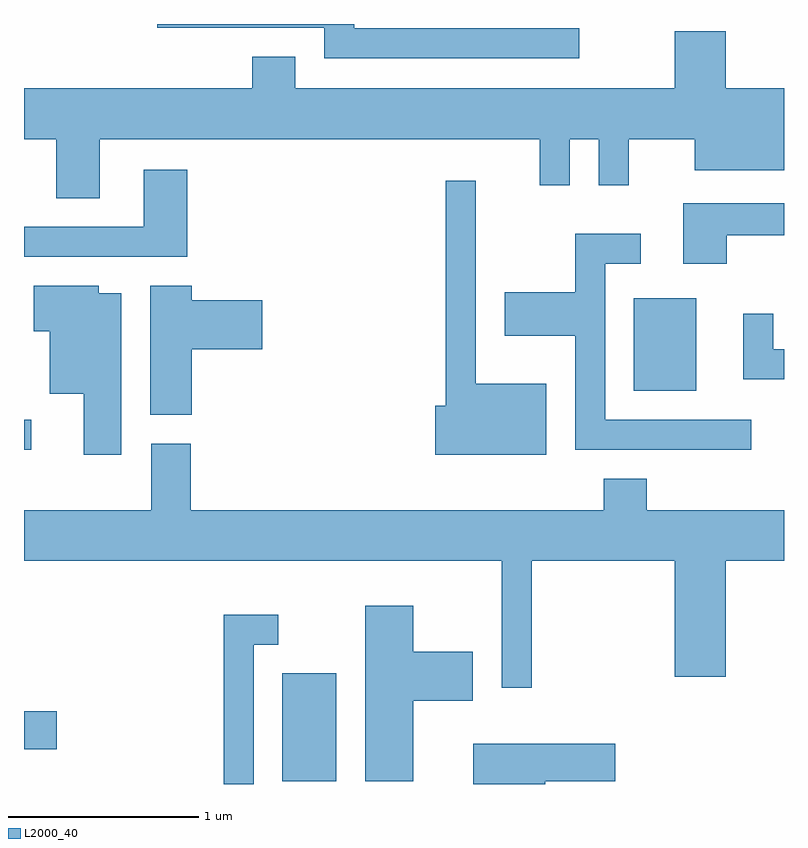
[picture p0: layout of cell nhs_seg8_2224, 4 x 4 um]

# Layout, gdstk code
import gdstk
lib = gdstk.Library(unit=1e-6, precision=1e-09)
def R(c, l, rs):  # rectangles x0, y0, x1, y1
    for r in rs: c.add(gdstk.rectangle(r[:2], r[2:], *l))
def P(c, l, *ps):  # polygons
    for p in ps: c.add(gdstk.Polygon(p, *l))
L2000_40 = (2000, 40)

nhs_seg8_2224 = lib.new_cell('nhs_seg8_2224')
R(nhs_seg8_2224, L2000_40, [(252.971,1846.356,253.254,1846.924), (251.611,1846.526,251.784,1846.724), (251.611,1848.101,251.648,1848.259), (254.821,1848.411,255.149,1848.899)])
P(nhs_seg8_2224, L2000_40, [(254.533,1850.319),(253.349,1850.319),(253.349,1850.342),(252.313,1850.342),(252.313,1850.321),(253.191,1850.321),(253.191,1850.161),(254.533,1850.161)],
  [(252.009,1849.736),(254.326,1849.736),(254.326,1849.493),(254.484,1849.493),(254.484,1849.736),(254.636,1849.736),(254.636,1849.493),(254.794,1849.493),(254.794,1849.736),(255.141,1849.736),(255.141,1849.571),(255.611,1849.571),(255.611,1850.004),(255.304,1850.004),(255.304,1850.304),(255.036,1850.304),(255.036,1850.004),(253.039,1850.004),(253.039,1850.169),(252.811,1850.169),(252.811,1850.004),(251.611,1850.004),(251.611,1849.736),(251.781,1849.736),(251.781,1849.426),(252.009,1849.426)],
  [(252.469,1849.574),(252.241,1849.574),(252.241,1849.274),(251.611,1849.274),(251.611,1849.116),(252.469,1849.116)],
  [(254.359,1848.449),(253.989,1848.449),(253.989,1849.518),(253.831,1849.518),(253.831,1848.334),(253.776,1848.334),(253.776,1848.076),(254.359,1848.076)],
  [(255.309,1849.231),(255.611,1849.231),(255.611,1849.399),(255.081,1849.399),(255.081,1849.081),(255.309,1849.081)],
  [(255.438,1848.259),(254.669,1848.259),(254.669,1849.081),(254.858,1849.081),(254.858,1849.239),(254.511,1849.239),(254.511,1848.929),(254.141,1848.929),(254.141,1848.701),(254.511,1848.701),(254.511,1848.101),(255.438,1848.101)],
  [(252.494,1848.631),(252.864,1848.631),(252.864,1848.889),(252.494,1848.889),(252.494,1848.964),(252.276,1848.964),(252.276,1848.286),(252.494,1848.286)],
  [(252.124,1848.924),(252.004,1848.924),(252.004,1848.964),(251.661,1848.964),(251.661,1848.726),(251.746,1848.726),(251.746,1848.396),(251.926,1848.396),(251.926,1848.076),(252.124,1848.076)],
  [(255.611,1848.629),(255.554,1848.629),(255.554,1848.818),(255.396,1848.818),(255.396,1848.471),(255.611,1848.471)],
  [(254.284,1847.516),(255.036,1847.516),(255.036,1846.906),(255.304,1846.906),(255.304,1847.516),(255.611,1847.516),(255.611,1847.784),(254.889,1847.784),(254.889,1847.949),(254.661,1847.949),(254.661,1847.784),(252.489,1847.784),(252.489,1848.134),(252.281,1848.134),(252.281,1847.784),(251.611,1847.784),(251.611,1847.516),(254.126,1847.516),(254.126,1846.848),(254.284,1846.848)],
  [(253.659,1846.781),(253.974,1846.781),(253.974,1847.039),(253.659,1847.039),(253.659,1847.279),(253.406,1847.279),(253.406,1846.356),(253.659,1846.356)],
  [(252.819,1847.076),(252.948,1847.076),(252.948,1847.234),(252.661,1847.234),(252.661,1846.342),(252.819,1846.342)],
  [(254.354,1846.356),(254.724,1846.356),(254.724,1846.554),(253.976,1846.554),(253.976,1846.342),(254.354,1846.342)])

lib.write_gds('nhs_seg8_2224.gds')
